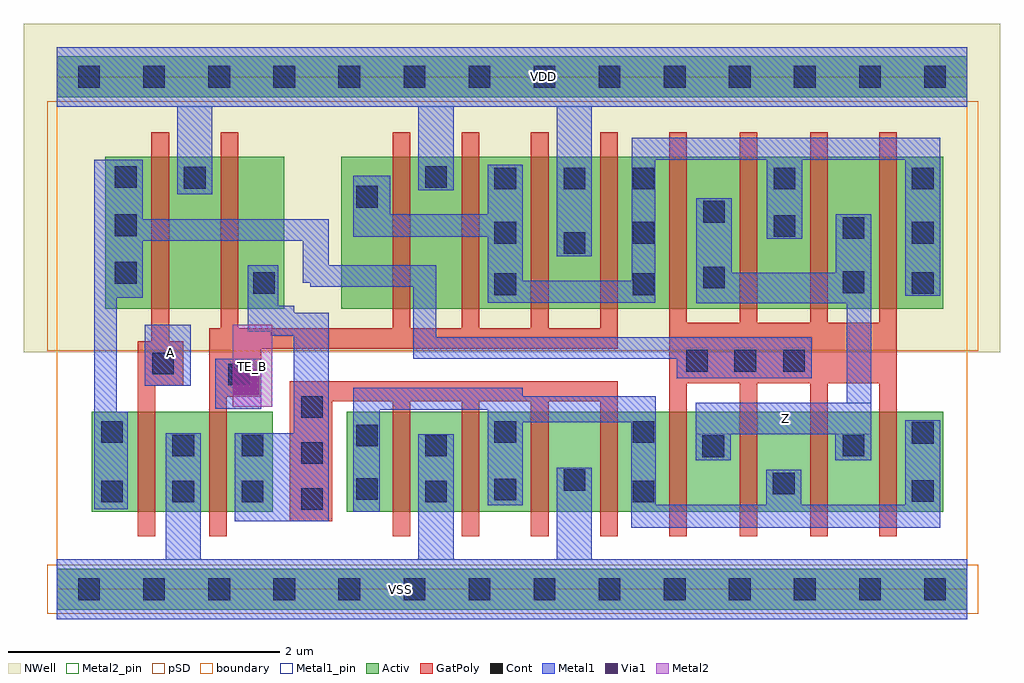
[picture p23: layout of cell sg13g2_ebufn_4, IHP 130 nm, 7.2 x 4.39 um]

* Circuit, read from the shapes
.subckt sg13g2_ebufn_4 A TE_B VDD VSS Z
XM1 VSS A n1 VSS sg13_lv_nmos w=0.74u l=0.13u
XM2 n2 TE_B VSS VSS sg13_lv_nmos w=0.74u l=0.13u
XM3 VSS n2 n3 VSS sg13_lv_nmos w=0.74u l=0.13u m=4
XM4 Z n1 n3 VSS sg13_lv_nmos w=0.74u l=0.13u m=4
XM5 VDD A n1 VDD sg13_lv_pmos w=1.12u l=0.13u
XM6 n2 TE_B VDD VDD sg13_lv_pmos w=1.12u l=0.13u
XM7 VDD TE_B n4 VDD sg13_lv_pmos w=1.12u l=0.13u m=4
XM8 Z n1 n4 VDD sg13_lv_pmos w=1.12u l=0.13u m=4
.ends

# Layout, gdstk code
import gdstk
lib = gdstk.Library(unit=1e-6, precision=1e-09)
def R(c, l, rs):  # rectangles x0, y0, x1, y1
    for r in rs: c.add(gdstk.rectangle(r[:2], r[2:], *l))
def A(c, l, x, y, w, h, nx, ny, dx, dy):  # array of equal rectangles
    R(c, l, [(x+i*dx, y+j*dy, x+i*dx+w, y+j*dy+h) for i in range(nx) for j in range(ny)])
def P(c, l, *ps):  # polygons
    for p in ps: c.add(gdstk.Polygon(p, *l))
Activ = (1, 0)
GatPoly = (5, 0)
Cont = (6, 0)
Metal1 = (8, 0)
Metal1_pin = (8, 2)
Metal2 = (10, 0)
Metal2_pin = (10, 2)
pSD = (14, 0)
Via1 = (19, 0)
NWell = (31, 0)
boundary = (189, 4)

sg13g2_ebufn_4 = lib.new_cell('sg13g2_ebufn_4')
R(sg13g2_ebufn_4, Activ, [(0,-0.15,6.72,0.15), (0.26,0.57,1.595,1.31), (2.14,0.57,6.54,1.31), (0.36,2.07,1.68,3.19), (2.1,2.07,6.54,3.19), (0,3.63,6.72,3.93)])
P(sg13g2_ebufn_4, GatPoly, [(6.2,3.37),(6.07,3.37),(6.07,1.965),(5.69,1.965),(5.69,3.37),(5.56,3.37),(5.56,1.965),(5.17,1.965),(5.17,3.37),(5.04,3.37),(5.04,1.965),(4.65,1.965),(4.65,3.37),(4.52,3.37),(4.52,0.39),(4.65,0.39),(4.65,1.52),(5.04,1.52),(5.04,0.39),(5.17,0.39),(5.17,1.52),(5.56,1.52),(5.56,0.39),(5.69,0.39),(5.69,1.52),(6.07,1.52),(6.07,0.39),(6.2,0.39)],
  [(4.14,1.535),(1.72,1.535),(1.72,0.5),(2.035,0.5),(2.035,1.385),(2.48,1.385),(2.48,0.39),(2.61,0.39),(2.61,1.385),(2.99,1.385),(2.99,0.39),(3.12,0.39),(3.12,1.385),(3.5,1.385),(3.5,0.39),(3.63,0.39),(3.63,1.385),(4.01,1.385),(4.01,0.39),(4.14,0.39)],
  [(4.14,3.37),(4.01,3.37),(4.01,1.925),(3.63,1.925),(3.63,3.37),(3.5,3.37),(3.5,1.925),(3.12,1.925),(3.12,3.37),(2.99,3.37),(2.99,1.925),(2.61,1.925),(2.61,3.37),(2.48,3.37),(2.48,1.925),(1.34,1.925),(1.34,3.37),(1.21,3.37),(1.21,1.925),(1.125,1.925),(1.125,0.39),(1.255,0.39),(1.255,1.42),(1.51,1.42),(1.51,1.775),(4.14,1.775)],
  [(0.935,1.83),(0.83,1.83),(0.83,3.37),(0.7,3.37),(0.7,1.83),(0.6,1.83),(0.6,0.39),(0.73,0.39),(0.73,1.5),(0.935,1.5)])
A(sg13g2_ebufn_4, Cont, 0.16, -0.08, 0.16, 0.16, 14, 2, 0.48, 3.78)
A(sg13g2_ebufn_4, Cont, 1.805, 0.585, 0.16, 0.16, 1, 3, 0, 0.34)
A(sg13g2_ebufn_4, Cont, 3.23, 2.95, 0.16, 0.16, 3, 1, 0.51, 0)
R(sg13g2_ebufn_4, Cont, [(0.33,0.64,0.49,0.8), (0.855,0.64,1.015,0.8), (1.365,0.64,1.525,0.8), (2.72,0.64,2.88,0.8), (4.25,0.64,4.41,0.8), (6.31,0.645,6.47,0.805), (3.23,0.655,3.39,0.815), (2.21,0.66,2.37,0.82), (5.285,0.7,5.445,0.86), (3.74,0.725,3.9,0.885), (4.765,0.975,4.925,1.135), (0.855,0.98,1.015,1.14), (1.365,0.98,1.525,1.14), (2.72,0.98,2.88,1.14), (5.8,0.98,5.96,1.14), (2.21,1.055,2.37,1.215), (6.31,1.075,6.47,1.235), (0.33,1.08,0.49,1.24), (3.23,1.08,3.39,1.24), (4.25,1.08,4.41,1.24), (1.265,1.505,1.425,1.665), (0.705,1.585,0.865,1.745), (4.645,1.605,4.805,1.765), (5,1.605,5.16,1.765), (5.36,1.605,5.52,1.765), (3.23,2.17,3.39,2.33), (4.25,2.17,4.41,2.33), (1.45,2.18,1.61,2.34), (6.31,2.18,6.47,2.34), (5.8,2.185,5.96,2.345), (4.77,2.22,4.93,2.38), (0.43,2.255,0.59,2.415), (3.74,2.475,3.9,2.635), (3.23,2.55,3.39,2.71), (4.25,2.55,4.41,2.71), (6.31,2.55,6.47,2.71), (5.8,2.585,5.96,2.745), (5.29,2.6,5.45,2.76), (0.43,2.605,0.59,2.765), (4.77,2.705,4.93,2.865), (2.21,2.815,2.37,2.975), (5.29,2.95,5.45,3.11), (6.31,2.95,6.47,3.11), (0.94,2.955,1.1,3.115), (0.43,2.96,0.59,3.12), (2.72,2.96,2.88,3.12)])
R(sg13g2_ebufn_4, Metal1, [(1.17,1.33,1.51,1.7), (0.65,1.5,0.99,1.95)])
P(sg13g2_ebufn_4, Metal1, [(6.72,0.22),(3.95,0.22),(3.95,0.895),(3.69,0.895),(3.69,0.22),(2.93,0.22),(2.93,1.145),(2.67,1.145),(2.67,0.22),(1.065,0.22),(1.065,1.15),(0.805,1.15),(0.805,0.22),(0,0.22),(0,-0.22),(6.72,-0.22)],
  [(6.72,4),(0,4),(0,3.56),(0.89,3.56),(0.89,2.915),(1.15,2.915),(1.15,3.56),(2.67,3.56),(2.67,2.945),(2.93,2.945),(2.93,3.56),(3.69,3.56),(3.69,2.455),(3.95,2.455),(3.95,3.56),(6.72,3.56)],
  [(6.52,1.245),(6.26,1.245),(6.26,0.625),(5.495,0.625),(5.495,0.88),(5.235,0.88),(5.235,0.625),(4.42,0.625),(4.42,1.425),(3.44,1.425),(3.44,1.485),(2.19,1.485),(2.19,0.57),(2.385,0.57),(2.385,1.325),(3.18,1.325),(3.18,0.62),(3.44,0.62),(3.44,1.23),(4.24,1.23),(4.24,0.455),(6.52,0.455)],
  [(6.52,3.33),(4.245,3.33),(4.245,2.275),(3.44,2.275),(3.44,3.13),(3.18,3.13),(3.18,2.765),(2.46,2.765),(2.46,3.05),(2.19,3.05),(2.19,2.6),(3.18,2.6),(3.18,2.115),(4.415,2.115),(4.415,3.17),(5.24,3.17),(5.24,2.585),(5.5,2.585),(5.5,3.17),(6.26,3.17),(6.26,2.165),(6.52,2.165)],
  [(6.01,2.765),(5.75,2.765),(5.75,2.335),(4.98,2.335),(4.98,2.885),(4.72,2.885),(4.72,2.11),(5.83,2.11),(5.83,1.375),(4.715,1.375),(4.715,0.95),(4.975,0.95),(4.975,1.145),(5.745,1.145),(5.745,0.95),(6.01,0.95)],
  [(5.57,1.86),(2.8,1.86),(2.8,2.39),(2.01,2.39),(2.01,2.73),(0.635,2.73),(0.635,3.17),(0.28,3.17),(0.28,0.59),(0.525,0.59),(0.525,1.31),(0.445,1.31),(0.445,2.15),(0.635,2.15),(0.635,2.57),(1.815,2.57),(1.815,2.26),(1.87,2.26),(1.87,2.23),(2.63,2.23),(2.63,1.7),(4.575,1.7),(4.575,1.555),(5.57,1.555)],
  [(2.01,2.04),(1.755,2.04),(1.755,2.09),(1.635,2.09),(1.635,2.39),(1.41,2.39),(1.41,1.9),(1.58,1.9),(1.58,1.87),(1.75,1.87),(1.75,1.15),(1.315,1.15),(1.315,0.5),(2.01,0.5)])
R(sg13g2_ebufn_4, Metal1_pin, [(0,-0.22,6.72,0.22), (4.715,1.145,6.01,1.375), (0.65,1.5,0.99,1.95), (0,3.56,6.72,4)])
R(sg13g2_ebufn_4, Metal2, [(1.3,1.345,1.59,1.95)])
R(sg13g2_ebufn_4, Metal2_pin, [(1.3,1.345,1.59,1.95)])
R(sg13g2_ebufn_4, pSD, [(-0.07,-0.18,6.8,0.18), (-0.07,1.76,6.8,3.6)])
R(sg13g2_ebufn_4, Via1, [(1.305,1.435,1.495,1.625)])
R(sg13g2_ebufn_4, NWell, [(-0.24,1.75,6.96,4.17)])
R(sg13g2_ebufn_4, boundary, [(0,0,6.72,3.78)])
sg13g2_ebufn_4.add(gdstk.Label('TE_B', (1.445,1.645), layer=10, texttype=25))
sg13g2_ebufn_4.add(gdstk.Label('A', (0.84,1.75), layer=8, texttype=25))
sg13g2_ebufn_4.add(gdstk.Label('VDD', (3.59,3.78), layer=8, texttype=25))
sg13g2_ebufn_4.add(gdstk.Label('VSS', (2.54,0), layer=8, texttype=25))
sg13g2_ebufn_4.add(gdstk.Label('Z', (5.375,1.26), layer=8, texttype=25))

lib.write_gds('sg13g2_ebufn_4.gds')
